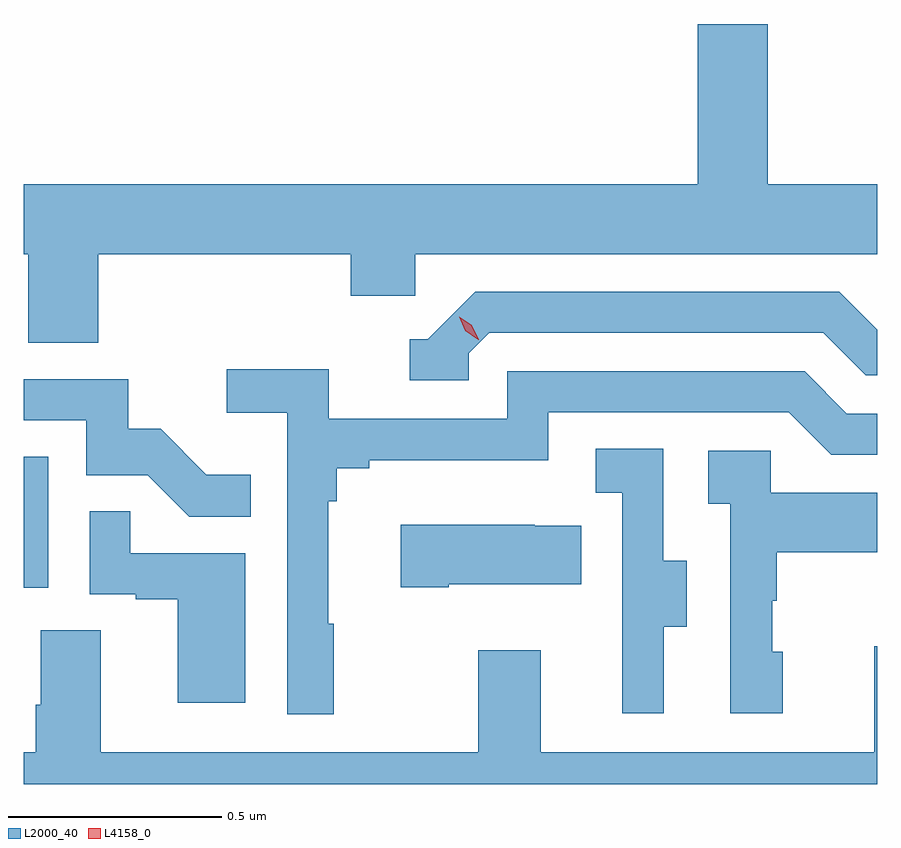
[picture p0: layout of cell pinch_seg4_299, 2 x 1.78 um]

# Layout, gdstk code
import gdstk
lib = gdstk.Library(unit=1e-6, precision=1e-09)
def R(c, l, rs):  # rectangles x0, y0, x1, y1
    for r in rs: c.add(gdstk.rectangle(r[:2], r[2:], *l))
def P(c, l, *ps):  # polygons
    for p in ps: c.add(gdstk.Polygon(p, *l))
L2000_40 = (2000, 40)
L4158_0 = (4158, 0)

pinch_seg4_299 = lib.new_cell('pinch_seg4_299')
R(pinch_seg4_299, L2000_40, [(930.661,798.702,930.718,799.009)])
P(pinch_seg4_299, L2000_40, [(930.836,799.484),(931.427,799.484),(931.427,799.386),(931.578,799.386),(931.578,799.484),(932.661,799.484),(932.661,799.648),(932.404,799.648),(932.404,800.023),(932.24,800.023),(932.24,799.648),(930.661,799.648),(930.661,799.484),(930.671,799.484),(930.671,799.276),(930.836,799.276)],
  [(931.704,799.251),(931.752,799.299),(932.535,799.299),(932.634,799.2),(932.661,799.2),(932.661,799.306),(932.572,799.395),(931.719,799.395),(931.608,799.284),(931.565,799.284),(931.565,799.188),(931.704,799.188)],
  [(931.387,798.617),(931.375,798.617),(931.375,798.905),(931.394,798.905),(931.394,798.982),(931.471,798.982),(931.471,799.001),(931.89,799.001),(931.89,799.113),(932.454,799.113),(932.553,799.014),(932.661,799.014),(932.661,799.11),(932.59,799.11),(932.491,799.209),(931.794,799.209),(931.794,799.098),(931.376,799.098),(931.376,799.214),(931.137,799.214),(931.137,799.112),(931.278,799.112),(931.278,798.405),(931.387,798.405)],
  [(931.193,798.967),(931.089,798.967),(930.982,799.074),(930.906,799.074),(930.906,799.191),(930.661,799.191),(930.661,799.095),(930.807,799.095),(930.807,798.966),(930.951,798.966),(931.049,798.868),(931.193,798.868)],
  [(932.161,798.61),(932.215,798.61),(932.215,798.765),(932.16,798.765),(932.16,799.028),(932.001,799.028),(932.001,798.925),(932.064,798.925),(932.064,798.621),(932.063,798.621),(932.063,798.408),(932.161,798.408)],
  [(932.44,798.552),(932.415,798.552),(932.415,798.671),(932.425,798.671),(932.425,798.785),(932.661,798.785),(932.661,798.925),(932.412,798.925),(932.412,799.023),(932.265,799.023),(932.265,798.899),(932.316,798.899),(932.316,798.408),(932.44,798.408)],
  [(931.18,798.783),(930.911,798.783),(930.911,798.881),(930.816,798.881),(930.816,798.687),(930.923,798.687),(930.923,798.675),(931.022,798.675),(931.022,798.432),(931.18,798.432)],
  [(931.657,798.71),(931.967,798.71),(931.967,798.847),(931.859,798.847),(931.859,798.85),(931.545,798.85),(931.545,798.703),(931.657,798.703)],
  [(932.661,798.565),(932.654,798.565),(932.654,798.316),(931.873,798.316),(931.873,798.556),(931.726,798.556),(931.726,798.316),(930.841,798.316),(930.841,798.602),(930.701,798.602),(930.701,798.428),(930.689,798.428),(930.689,798.316),(930.661,798.316),(930.661,798.242),(932.661,798.242)])
P(pinch_seg4_299, L4158_0, [(931.726,799.283),(931.696,799.304),(931.681,799.337),(931.681,799.337),(931.681,799.337),(931.711,799.317),(931.727,799.284),(931.727,799.283)])

lib.write_gds('pinch_seg4_299.gds')
